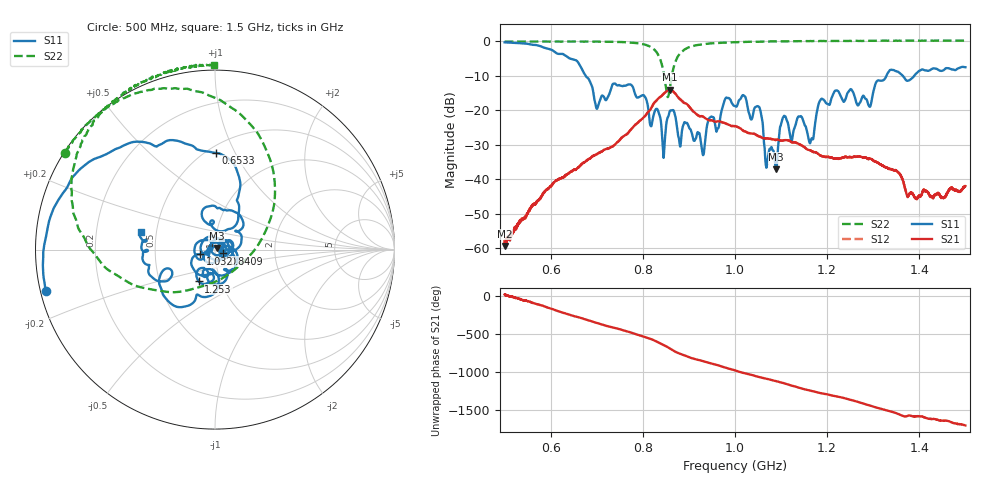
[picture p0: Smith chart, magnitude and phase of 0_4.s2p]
!Keysight Technologies,N5242B,MY48420860,A.13.80.08
!Date: Saturday, September 26, 2020 11:24:01
!Correction: S11(Full 2 Port(1,2))
!S21(Full 2 Port(1,2))
!S12(Full 2 Port(1,2))
!S22(Full 2 Port(1,2))
!S2P File: Measurements: S11, S21, S12, S22:
# Hz S  dB  R 50
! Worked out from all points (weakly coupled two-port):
!   2650 points, 500 MHz to 1.5 GHz, reference 50 ohm
!   highest |S21| = -13.95 dB at 859 MHz (marker M1); lowest = -59.4 dB at 500.4 MHz (marker M2)
!   lowest |S11| = -37.2 dB at 1.09 GHz (marker M3), VSWR 1.03, Z = 51.1 + j0.882 ohm
!   |S11| at or under -10 dB: 675.9 MHz to 1.329 GHz (652.6 MHz wide, 65.1 % of centre); 1.364 GHz to 1.389 GHz (24.27 MHz wide, 1.76 % of centre)
!   |S22| runs from -16.2 to 0.3 dB; largest |S21 - S12| = 0.00054
!   S11 on the Smith chart (normalised r, x): 500 MHz: 0.01, -0.12; 653.3 MHz: 0.55, +0.84; 840.9 MHz: 1.10, -0.05; 1.032 GHz: 0.85, -0.04; 1.253 GHz: 0.79, -0.29; 1.5 GHz: 0.41, +0.10
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5e8  -0.25 -166.3  -58.43 19.0  -59.44 13.8  -0.05 147.0
5.003775e8  -0.26 -166.5  -59.35 13.0  -57.75 8.4  -0.05 147.0
6.532654e8  -5.37 89.4  -37.24 91.1  -37.21 90.9  -0.01 133.9
6.668554e8  -7.76 70.2  -35.66 69.1  -35.72 69.0  -0.03 132.3
7.000755e8  -19.55 77.0  -32.72 5.9  -32.67 5.7  -0.05 128.1
7.710457e8  -12.49 61.0  -26.03 -113.9  -26.04 -114.1  -0.32 113.6
8.337108e8  -20.38 2.9  -16.53 109.5  -16.53 109.4  -4.00 63.5
8.408834e8  -25.72 -24.8  -15.81 89.1  -15.83 89.0  -6.53 44.8
8.590034e8  -20.12 21.5  -13.95 28.2  -13.96 28.1  -13.24 -109.6
8.846735e8  -26.15 -6.7  -17.22 -48.7  -17.22 -48.8  -2.98 178.0
9.303511e8  -32.92 -135.8  -21.79 -137.4  -21.80 -137.3  -0.80 149.8
1.000189e9  -18.74 -95.7  -24.57 101.9  -24.59 101.8  -0.21 135.2
1.031521e9  -21.24 -162.9  -26.62 48.9  -26.65 48.7  -0.09 131.0
1.089656e9  -37.16 38.5  -28.54 -40.2  -28.54 -40.1  0.02 124.7
1.106267e9  -21.62 -118.5  -28.69 -67.0  -28.69 -66.8  0.04 123.1
1.166667e9  -28.09 7.5  -31.86 -169.5  -31.89 -169.8  0.08 117.7
1.185919e9  -16.88 -30.7  -33.13 163.0  -33.17 162.9  0.16 116.2
1.253114e9  -14.02 -116.9  -33.61 70.4  -33.61 70.4  0.14 110.4
1.292374e9  -18.97 -103.4  -34.05 0.6  -34.07 0.4  0.18 107.6
1.333522e9  -8.79 -118.8  -36.97 -70.4  -36.95 -70.3  0.24 104.2
1.393167e9  -9.33 -148.7  -45.62 -140.9  -45.55 -143.7  0.25 99.5
1.5e9  -7.48 166.4  -42.01 97.3  -42.11 96.7  0.25 90.3
